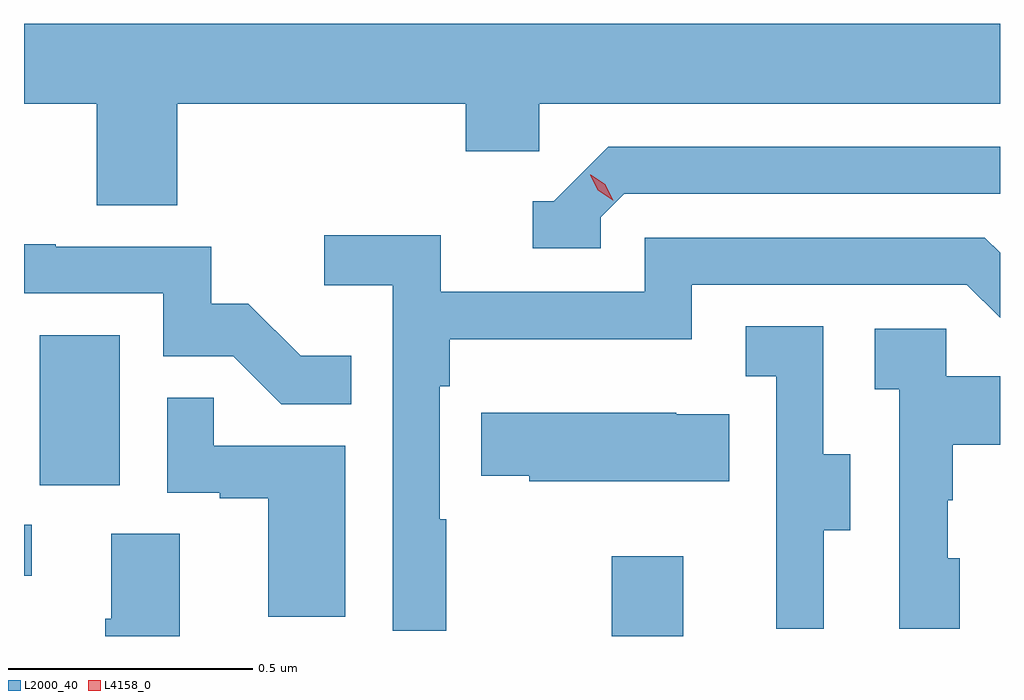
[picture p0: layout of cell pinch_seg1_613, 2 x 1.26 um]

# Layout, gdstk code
import gdstk
lib = gdstk.Library(unit=1e-6, precision=1e-09)
def R(c, l, rs):  # rectangles x0, y0, x1, y1
    for r in rs: c.add(gdstk.rectangle(r[:2], r[2:], *l))
def P(c, l, *ps):  # polygons
    for p in ps: c.add(gdstk.Polygon(p, *l))
L2000_40 = (2000, 40)
L4158_0 = (4158, 0)

pinch_seg1_613 = lib.new_cell('pinch_seg1_613')
R(pinch_seg1_613, L2000_40, [(1030.294,516.008,1030.441,516.172), (1029.09,516.132,1029.106,516.237), (1029.122,516.318,1029.286,516.625)])
P(pinch_seg1_613, L2000_40, [(1029.09,517.1),(1029.239,517.1),(1029.239,516.892),(1029.404,516.892),(1029.404,517.1),(1029.995,517.1),(1029.995,517.002),(1030.146,517.002),(1030.146,517.1),(1031.09,517.1),(1031.09,517.264),(1029.09,517.264)],
  [(1030.272,516.867),(1030.32,516.915),(1031.09,516.915),(1031.09,517.011),(1030.287,517.011),(1030.176,516.9),(1030.133,516.9),(1030.133,516.804),(1030.272,516.804)],
  [(1029.955,516.248),(1029.942,516.248),(1029.942,516.521),(1029.962,516.521),(1029.962,516.617),(1030.458,516.617),(1030.458,516.729),(1031.022,516.729),(1031.09,516.661),(1031.09,516.794),(1031.059,516.825),(1030.362,516.825),(1030.362,516.714),(1029.944,516.714),(1029.944,516.83),(1029.705,516.83),(1029.705,516.728),(1029.846,516.728),(1029.846,516.02),(1029.955,516.02)],
  [(1029.761,516.583),(1029.657,516.583),(1029.55,516.69),(1029.474,516.69),(1029.474,516.807),(1029.155,516.807),(1029.155,516.812),(1029.09,516.812),(1029.09,516.711),(1029.375,516.711),(1029.375,516.582),(1029.519,516.582),(1029.617,516.484),(1029.761,516.484)],
  [(1030.729,516.226),(1030.783,516.226),(1030.783,516.381),(1030.728,516.381),(1030.728,516.644),(1030.569,516.644),(1030.569,516.541),(1030.632,516.541),(1030.632,516.237),(1030.631,516.237),(1030.631,516.024),(1030.729,516.024)],
  [(1031.008,516.168),(1030.983,516.168),(1030.983,516.287),(1030.993,516.287),(1030.993,516.401),(1031.09,516.401),(1031.09,516.541),(1030.98,516.541),(1030.98,516.639),(1030.833,516.639),(1030.833,516.515),(1030.884,516.515),(1030.884,516.024),(1031.008,516.024)],
  [(1029.748,516.399),(1029.479,516.399),(1029.479,516.497),(1029.384,516.497),(1029.384,516.303),(1029.491,516.303),(1029.491,516.291),(1029.59,516.291),(1029.59,516.048),(1029.748,516.048)],
  [(1030.535,516.463),(1030.427,516.463),(1030.427,516.466),(1030.027,516.466),(1030.027,516.337),(1030.125,516.337),(1030.125,516.326),(1030.535,516.326)],
  [(1029.409,516.218),(1029.269,516.218),(1029.269,516.044),(1029.257,516.044),(1029.257,516.008),(1029.409,516.008)])
P(pinch_seg1_613, L4158_0, [(1030.296,516.902),(1030.266,516.922),(1030.25,516.954),(1030.25,516.954),(1030.251,516.954),(1030.281,516.935),(1030.297,516.902),(1030.297,516.902)])

lib.write_gds('pinch_seg1_613.gds')
